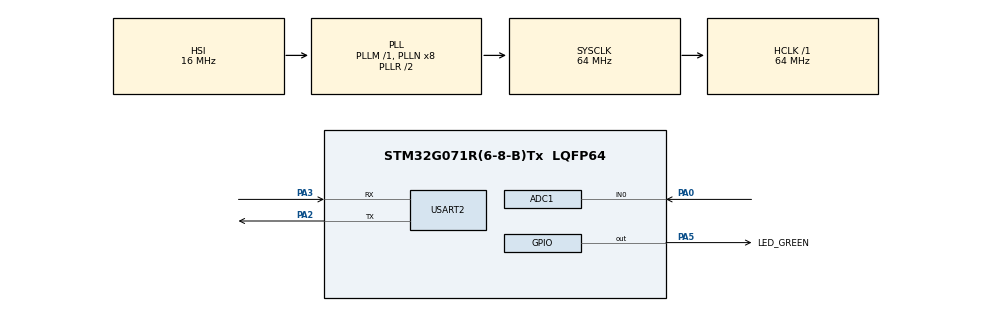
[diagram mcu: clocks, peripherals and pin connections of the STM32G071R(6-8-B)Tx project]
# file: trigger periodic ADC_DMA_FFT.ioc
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ADC1.Channel-0\#ChannelRegularConversion=ADC_CHANNEL_0
ADC1.ClockPrescaler=ADC_CLOCK_ASYNC_DIV32
ADC1.ContinuousConvMode=ENABLE
ADC1.DMAContinuousRequests=ENABLE
ADC1.ExternalTrigConv=ADC_EXTERNALTRIG_T2_TRGO
ADC1.ExternalTrigConvEdge=ADC_EXTERNALTRIGCONVEDGE_RISINGFALLING
ADC1.NbrOfConversionFlag=1
ADC1.Rank-0\#ChannelRegularConversion=1
ADC1.SamplingTime-0\#ChannelRegularConversion=ADC_SAMPLINGTIME_COMMON_1
ADC1.SamplingTimeCommon1=ADC_SAMPLETIME_12CYCLES_5
ADC1.SelectedChannel=ADC_CHANNEL_0
ADC1.master=1
Dma.ADC1.0.Direction=DMA_PERIPH_TO_MEMORY
Dma.ADC1.0.EventEnable=DISABLE
Dma.ADC1.0.Instance=DMA1_Channel1
Dma.ADC1.0.MemDataAlignment=DMA_MDATAALIGN_HALFWORD
Dma.ADC1.0.MemInc=DMA_MINC_ENABLE
Dma.ADC1.0.Mode=DMA_CIRCULAR
Dma.ADC1.0.PeriphDataAlignment=DMA_PDATAALIGN_HALFWORD
Dma.ADC1.0.PeriphInc=DMA_PINC_DISABLE
Dma.ADC1.0.Polarity=HAL_DMAMUX_REQ_GEN_RISING
Dma.ADC1.0.Priority=DMA_PRIORITY_LOW
Dma.ADC1.0.RequestNumber=1
Dma.ADC1.0.SignalID=NONE
Dma.ADC1.0.SyncEnable=DISABLE
Dma.ADC1.0.SyncPolarity=HAL_DMAMUX_SYNC_NO_EVENT
Dma.ADC1.0.SyncRequestNumber=1
Dma.ADC1.0.SyncSignalID=NONE
Dma.Request0=ADC1
Mcu.Family=STM32G0
Mcu.Name=STM32G071R(6-8-B)Tx
Mcu.Package=LQFP64
NVIC.ADC1_COMP_IRQn=true\:0\:0\:false\:false\:true\:true\:true\:true
NVIC.DMA1_Channel1_IRQn=true\:0\:0\:false\:false\:true\:false\:true\:true
NVIC.TIM2_IRQn=true\:0\:0\:false\:false\:true\:true\:true\:true
PA0.Mode=IN0
PA0.Signal=ADC1_IN0
PA13.Mode=Serial_Wire
PA13.Signal=SYS_SWDIO
PA14-BOOT0.Mode=Serial_Wire
PA14-BOOT0.Signal=SYS_SWCLK
PA2.Mode=Asynchronous
PA2.Signal=USART2_TX
PA3.Mode=Asynchronous
PA3.Signal=USART2_RX
PA5.GPIO_Label=LED_GREEN
PA5.GPIO_Speed=GPIO_SPEED_FREQ_HIGH
PA5.PinState=GPIO_PIN_RESET
PA5.Signal=GPIO_Output
PC14-OSC32_IN\ (PC14).Mode=LSE-External-Oscillator
PC14-OSC32_IN\ (PC14).Signal=RCC_OSC32_IN
PC15-OSC32_OUT\ (PC15).Mode=LSE-External-Oscillator
PC15-OSC32_OUT\ (PC15).Signal=RCC_OSC32_OUT
PF0-OSC_IN\ (PF0).Mode=HSE-External-Oscillator
PF0-OSC_IN\ (PF0).Signal=RCC_OSC_IN
PF1-OSC_OUT\ (PF1).Mode=HSE-External-Oscillator
PF1-OSC_OUT\ (PF1).Signal=RCC_OSC_OUT
ProjectManager.HeapSize=0x200
ProjectManager.StackSize=0x400
ProjectManager.TargetToolchain=STM32CubeIDE
RCC.ADCFreq_Value=64000000
RCC.AHBFreq_Value=64000000
RCC.CortexFreq_Value=64000000
RCC.EXTERNAL_CLOCK_VALUE=12288000
RCC.HCLKFreq_Value=64000000
RCC.HSE_VALUE=8000000
RCC.HSI_VALUE=16000000
RCC.PLLP=RCC_PLLP_DIV4
RCC.SYSCLKFreq_VALUE=64000000
RCC.SYSCLKSource=RCC_SYSCLKSOURCE_PLLCLK
RCC.VCOOutputFreq_Value=128000000
TIM2.Channel-Output\ Compare1\ No\ Output=TIM_CHANNEL_1
TIM2.Period=3125-1
TIM2.Prescaler=64-1
TIM2.TIM_MasterOutputTrigger=TIM_TRGO_UPDATE
USART2.VirtualMode-Asynchronous=VM_ASYNC
VP_TIM2_VS_no_output1.Mode=Output Compare1 No Output
board=NUCLEO-G071RB

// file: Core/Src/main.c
/* USER CODE BEGIN Header */
/**
  ******************************************************************************
  * @file           : main.c
  * @brief          : Main program body
  ******************************************************************************
  * @attention
  *
  * Copyright (c) 2026 STMicroelectronics.
  * All rights reserved.
  *
  * This software is licensed under terms that can be found in the LICENSE file
  * in the root directory of this software component.
  * If no LICENSE file comes with this software, it is provided AS-IS.
  *
  ******************************************************************************
  */
/* USER CODE END Header */
#include "main.h"

/* USER CODE BEGIN Includes */
#include <stdio.h>
#define ARM_MATH_CM4
#include "arm_math.h"

#define test_signal	    0
#define FFT_SIZE    1024
#define SAMPLING_RATE  320     // sampling rate
/* USER CODE END Includes */

ADC_HandleTypeDef hadc1;
DMA_HandleTypeDef hdma_adc1;

TIM_HandleTypeDef htim2;

UART_HandleTypeDef huart2;

/* USER CODE BEGIN PV */
uint32_t adc_val;
uint16_t adc_data[FFT_SIZE];
uint32_t index1 = 0;

volatile uint8_t half_ready = 0;
volatile uint8_t full_ready = 0;

/* USER CODE END PV */

void SystemClock_Config(void);
static void MX_GPIO_Init(void);
static void MX_DMA_Init(void);
static void MX_ADC1_Init(void);
static void MX_TIM2_Init(void);
static void MX_USART2_UART_Init(void);

/* USER CODE BEGIN 0 */

// Resolution 0.3125 Hz

float32_t magnitude_z[FFT_SIZE];
float32_t FFT_input_z[FFT_SIZE * 2];
float32_t FFT_output_z[FFT_SIZE * 2];

arm_cfft_radix4_instance_f32	FFThandler;

void process_fft() {
	for (int i = 0; i < FFT_SIZE; i++) {

		FFT_output_z[2 * i] = FFT_input_z[i] ;   // real
		FFT_output_z[2 * i + 1] = 0.0f;          // imag
	}

		 arm_cfft_radix4_f32(&FFThandler, FFT_output_z);
		 arm_cmplx_mag_f32(FFT_output_z, magnitude_z, FFT_SIZE);

		 for (int i = 1; i < FFT_SIZE / 2  ; i++) {
			 	 magnitude_z[i] *=  2.0f / FFT_SIZE ;
		    // printf(" %.6f \r\n" ,  magnitude_z[i] );
		}

}

int _write(int file, char *ptr, int len)
{
	HAL_UART_Transmit(&huart2,(uint8_t*)ptr,len,HAL_MAX_DELAY);  //If you need to use "printf" for displaying output
	return len;													   //If you need to use 'Transmit', you don't need to have..
}

/* USER CODE END 0 */

int main(void)
{

  /* USER CODE BEGIN 1 */
	arm_cfft_radix4_init_f32(&FFThandler, FFT_SIZE , 0, 1);
  /* USER CODE END 1 */

  /* MCU Configuration--------------------------------------------------------*/

  /* Reset of all peripherals, Initializes the Flash interface and the Systick. */
  HAL_Init();

  /* Configure the system clock */
  SystemClock_Config();

  /* Initialize all configured peripherals */
  MX_GPIO_Init();
  MX_DMA_Init();
  MX_ADC1_Init();
  MX_TIM2_Init();
  MX_USART2_UART_Init();
  /* USER CODE BEGIN 2 */

  // Calibrate ADC
  HAL_ADCEx_Calibration_Start(&hadc1);
  HAL_ADC_Start_DMA(&hadc1 , (uint32_t *)adc_data , FFT_SIZE);
  HAL_TIM_Base_Start_IT(&htim2);

  /* USER CODE END 2 */

  /* Infinite loop */
  while (1)
  {
	  if(half_ready && full_ready){

		 half_ready = full_ready = 0;

		 FFT_input_z[index1] = adc_data[index1];
		 index1++;

		 if(index1 % FFT_SIZE == 0){
#if test_signal
    	for(int i = 0 ; i < FFT_SIZE ; i++){
    		  FFT_input_z[i] = 2 * arm_sin_f32(2 * M_PI * 20 * i * (1.0f / SAMPLING_RATE));
    	  }
#endif
    	process_fft();
    	index1 = 0;
		}

	}
  }
}

void SystemClock_Config(void)
{
  RCC_OscInitTypeDef RCC_OscInitStruct = {0};
  RCC_ClkInitTypeDef RCC_ClkInitStruct = {0};

  /** Configure the main internal regulator output voltage
  */
  HAL_PWREx_ControlVoltageScaling(PWR_REGULATOR_VOLTAGE_SCALE1);

  /** Initializes the RCC Oscillators according to the specified parameters
  * in the RCC_OscInitTypeDef structure.
  */
  RCC_OscInitStruct.OscillatorType = RCC_OSCILLATORTYPE_HSI;
  RCC_OscInitStruct.HSIState = RCC_HSI_ON;
  RCC_OscInitStruct.HSIDiv = RCC_HSI_DIV1;
  RCC_OscInitStruct.HSICalibrationValue = RCC_HSICALIBRATION_DEFAULT;
  RCC_OscInitStruct.PLL.PLLState = RCC_PLL_ON;
  RCC_OscInitStruct.PLL.PLLSource = RCC_PLLSOURCE_HSI;
  RCC_OscInitStruct.PLL.PLLM = RCC_PLLM_DIV1;
  RCC_OscInitStruct.PLL.PLLN = 8;
  RCC_OscInitStruct.PLL.PLLP = RCC_PLLP_DIV4;
  RCC_OscInitStruct.PLL.PLLQ = RCC_PLLQ_DIV2;
  RCC_OscInitStruct.PLL.PLLR = RCC_PLLR_DIV2;
  if (HAL_RCC_OscConfig(&RCC_OscInitStruct) != HAL_OK)
  {
    Error_Handler();
  }

  /** Initializes the CPU, AHB and APB buses clocks
  */
  RCC_ClkInitStruct.ClockType = RCC_CLOCKTYPE_HCLK|RCC_CLOCKTYPE_SYSCLK
                              |RCC_CLOCKTYPE_PCLK1;
  RCC_ClkInitStruct.SYSCLKSource = RCC_SYSCLKSOURCE_PLLCLK;
  RCC_ClkInitStruct.AHBCLKDivider = RCC_SYSCLK_DIV1;
  RCC_ClkInitStruct.APB1CLKDivider = RCC_HCLK_DIV1;

  if (HAL_RCC_ClockConfig(&RCC_ClkInitStruct, FLASH_LATENCY_2) != HAL_OK)
  {
    Error_Handler();
  }
}

static void MX_ADC1_Init(void)
{

  ADC_ChannelConfTypeDef sConfig = {0};

  /** Configure the global features of the ADC (Clock, Resolution, Data Alignment and number of conversion)
  */
  hadc1.Instance = ADC1;
  hadc1.Init.ClockPrescaler = ADC_CLOCK_ASYNC_DIV32;
  hadc1.Init.Resolution = ADC_RESOLUTION_12B;
  hadc1.Init.DataAlign = ADC_DATAALIGN_RIGHT;
  hadc1.Init.ScanConvMode = ADC_SCAN_DISABLE;
  hadc1.Init.EOCSelection = ADC_EOC_SINGLE_CONV;
  hadc1.Init.LowPowerAutoWait = DISABLE;
  hadc1.Init.LowPowerAutoPowerOff = DISABLE;
  hadc1.Init.ContinuousConvMode = ENABLE;
  hadc1.Init.NbrOfConversion = 1;
  hadc1.Init.ExternalTrigConv = ADC_EXTERNALTRIG_T2_TRGO;
  hadc1.Init.ExternalTrigConvEdge = ADC_EXTERNALTRIGCONVEDGE_RISINGFALLING;
  hadc1.Init.DMAContinuousRequests = ENABLE;
  hadc1.Init.Overrun = ADC_OVR_DATA_PRESERVED;
  hadc1.Init.SamplingTimeCommon1 = ADC_SAMPLETIME_12CYCLES_5;
  hadc1.Init.SamplingTimeCommon2 = ADC_SAMPLETIME_1CYCLE_5;
  hadc1.Init.OversamplingMode = DISABLE;
  hadc1.Init.TriggerFrequencyMode = ADC_TRIGGER_FREQ_HIGH;
  if (HAL_ADC_Init(&hadc1) != HAL_OK)
  {
    Error_Handler();
  }

  /** Configure Regular Channel
  */
  sConfig.Channel = ADC_CHANNEL_0;
  sConfig.Rank = ADC_REGULAR_RANK_1;
  sConfig.SamplingTime = ADC_SAMPLINGTIME_COMMON_1;
  if (HAL_ADC_ConfigChannel(&hadc1, &sConfig) != HAL_OK)
  {
    Error_Handler();
  }

}

static void MX_TIM2_Init(void)
{

  TIM_MasterConfigTypeDef sMasterConfig = {0};
  TIM_OC_InitTypeDef sConfigOC = {0};

  htim2.Instance = TIM2;
  htim2.Init.Prescaler = 64-1;
  htim2.Init.CounterMode = TIM_COUNTERMODE_UP;
  htim2.Init.Period = 3125-1;
  htim2.Init.ClockDivision = TIM_CLOCKDIVISION_DIV1;
  htim2.Init.AutoReloadPreload = TIM_AUTORELOAD_PRELOAD_DISABLE;
  if (HAL_TIM_OC_Init(&htim2) != HAL_OK)
  {
    Error_Handler();
  }
  sMasterConfig.MasterOutputTrigger = TIM_TRGO_UPDATE;
  sMasterConfig.MasterSlaveMode = TIM_MASTERSLAVEMODE_DISABLE;
  if (HAL_TIMEx_MasterConfigSynchronization(&htim2, &sMasterConfig) != HAL_OK)
  {
    Error_Handler();
  }
  sConfigOC.OCMode = TIM_OCMODE_TIMING;
  sConfigOC.Pulse = 0;
  sConfigOC.OCPolarity = TIM_OCPOLARITY_HIGH;
  sConfigOC.OCFastMode = TIM_OCFAST_DISABLE;
  if (HAL_TIM_OC_ConfigChannel(&htim2, &sConfigOC, TIM_CHANNEL_1) != HAL_OK)
  {
    Error_Handler();
  }

}

static void MX_USART2_UART_Init(void)
{

  huart2.Instance = USART2;
  huart2.Init.BaudRate = 115200;
  huart2.Init.WordLength = UART_WORDLENGTH_8B;
  huart2.Init.StopBits = UART_STOPBITS_1;
  huart2.Init.Parity = UART_PARITY_NONE;
  huart2.Init.Mode = UART_MODE_TX_RX;
  huart2.Init.HwFlowCtl = UART_HWCONTROL_NONE;
  huart2.Init.OverSampling = UART_OVERSAMPLING_16;
  huart2.Init.OneBitSampling = UART_ONE_BIT_SAMPLE_DISABLE;
  huart2.Init.ClockPrescaler = UART_PRESCALER_DIV1;
  huart2.AdvancedInit.AdvFeatureInit = UART_ADVFEATURE_NO_INIT;
  if (HAL_UART_Init(&huart2) != HAL_OK)
  {
    Error_Handler();
  }
  if (HAL_UARTEx_SetTxFifoThreshold(&huart2, UART_TXFIFO_THRESHOLD_1_8) != HAL_OK)
  {
    Error_Handler();
  }
  if (HAL_UARTEx_SetRxFifoThreshold(&huart2, UART_RXFIFO_THRESHOLD_1_8) != HAL_OK)
  {
    Error_Handler();
  }
  if (HAL_UARTEx_DisableFifoMode(&huart2) != HAL_OK)
  {
    Error_Handler();
  }

}

static void MX_DMA_Init(void)
{

  /* DMA controller clock enable */
  __HAL_RCC_DMA1_CLK_ENABLE();

  /* DMA interrupt init */
  /* DMA1_Channel1_IRQn interrupt configuration */
  HAL_NVIC_SetPriority(DMA1_Channel1_IRQn, 0, 0);
  HAL_NVIC_EnableIRQ(DMA1_Channel1_IRQn);

}

static void MX_GPIO_Init(void)
{
  GPIO_InitTypeDef GPIO_InitStruct = {0};

  /* GPIO Ports Clock Enable */
  __HAL_RCC_GPIOC_CLK_ENABLE();
  __HAL_RCC_GPIOF_CLK_ENABLE();
  __HAL_RCC_GPIOA_CLK_ENABLE();

  /*Configure GPIO pin Output Level */
  HAL_GPIO_WritePin(LED_GREEN_GPIO_Port, LED_GREEN_Pin, GPIO_PIN_RESET);

  /*Configure GPIO pin : LED_GREEN_Pin */
  GPIO_InitStruct.Pin = LED_GREEN_Pin;
  GPIO_InitStruct.Mode = GPIO_MODE_OUTPUT_PP;
  GPIO_InitStruct.Pull = GPIO_NOPULL;
  GPIO_InitStruct.Speed = GPIO_SPEED_FREQ_HIGH;
  HAL_GPIO_Init(LED_GREEN_GPIO_Port, &GPIO_InitStruct);

}

/* USER CODE BEGIN 4 */
void HAL_ADC_ConvHalfCpltCallback(ADC_HandleTypeDef* hadc)
{
	half_ready = 1;

}
void HAL_ADC_ConvCpltCallback(ADC_HandleTypeDef* hadc)
{
    full_ready = 1;
}

/* USER CODE END 4 */

void Error_Handler(void)
{
  __disable_irq();
  while (1)
  {
  }
}
